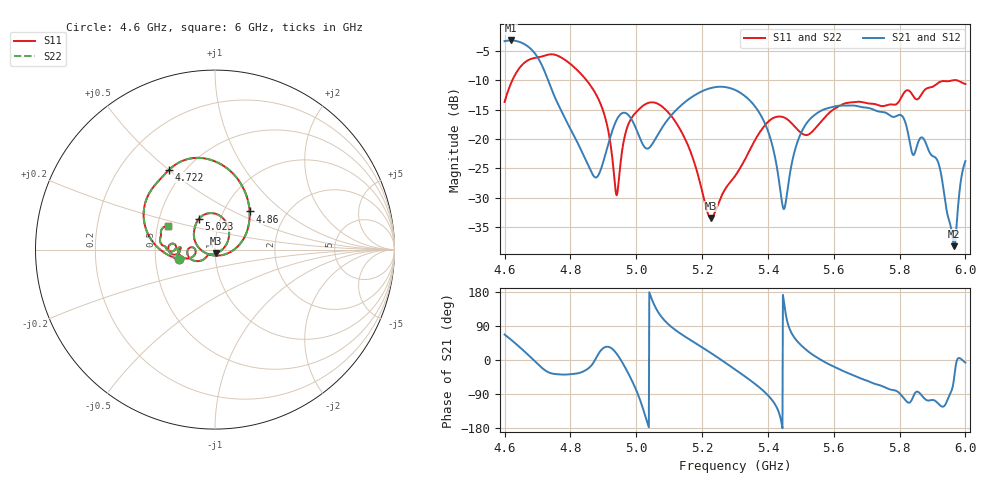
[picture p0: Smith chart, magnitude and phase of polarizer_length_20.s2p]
! TOUCHSTONE file generated by CST MICROWAVE STUDIO
! Date and time: Sun Dec  1 17:17:03 2024
! Project name: test_tuning.cst
! Parameters = {airCoaxOuterDiameter=3; chamferAngle=45; chamferWidth=24; connectorLength=10; drillingHoleDiameter=4.1; feedLength=60; flareDiameter=130; flareLength=70; gratingDistance=0; gratingGap=1.90274; outletLength=30; polarizerLength=102; probe1Diameter=1.3; probe1Distance=14; probe1Length=1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
! Header version: 2024
! Port assignment regex: !\s*Touchstone port\s*([0-9]+)\s*=\s*(CST MWS port|CST DES external port|CST DES block port)\s*(.+)\s* \(\"(.*)\"\)(\s*mode\s*([0-9]+))?.*
! Touchstone port assignment:
! Touchstone port 1 = CST MWS port 1 ("Input1")
! Touchstone port 2 = CST MWS port 2 ("Input2")
# GHz S MA R 50
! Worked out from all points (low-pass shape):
!   1001 points, 4.6 GHz to 6 GHz, reference 50 ohm
!   highest |S21| = -3.21 dB at 4.62 GHz (marker M1); lowest = -38.3 dB at 5.966 GHz (marker M2)
!   |S21| within 3 dB of the highest: start of sweep to 4.702 GHz
!   lowest |S11| = -33.5 dB at 5.227 GHz (marker M3), VSWR 1.04, Z = 50.6 - j2.06 ohm
!   |S11| at or under -10 dB: start of sweep to 4.623 GHz; 4.849 GHz to 5.961 GHz (1.112 GHz wide, 20.6 % of centre); 5.974985 GHz to end of sweep
!   |S22| runs from -33.5 to -5.6 dB; largest |S21 - S12| = 3.8e-07
!   S11 on the Smith chart (normalised r, x): 4.6 GHz: 0.66, -0.07; 4.722 GHz: 0.42, +0.50; 4.86 GHz: 1.32, +0.61; 5.023 GHz: 0.79, +0.28; 6 GHz: 0.57, +0.17
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4.6  0.2068 -165.1  0.6819 67.2  0.6819 67.2  0.2068 -165.1
4.6196  0.299 -179.0  0.6914 53.5  0.6914 53.5  0.299 -179.0
4.67  0.4673 146.4  0.6171 14.9  0.6171 14.9  0.4673 146.4
4.7218  0.5132 119.8  0.3752 -26.5  0.3752 -26.5  0.5132 119.8
4.8338  0.3543 61.0  0.0787 -32.2  0.0787 -32.2  0.3543 61.0
4.8604  0.2871 47.8  0.05461 -17.5  0.05461 -17.5  0.2871 47.8
4.908  0.1436 13.0  0.07698 34.7  0.07698 34.7  0.1436 13.0
4.9402  0.03322 -93.3  0.1452 16.8  0.1452 16.8  0.03322 -93.3
4.9724  0.1255 154.8  0.1636 -29.7  0.1636 -29.7  0.1255 154.8
5.0228  0.1942 117.2  0.0872 -134.8  0.0872 -134.8  0.1942 117.2
5.0676  0.1983 87.7  0.1116 124.9  0.1116 124.9  0.1983 87.7
5.1502  0.09768 39.2  0.2089 60.7  0.2089 60.7  0.09768 39.2
5.2272  0.02125 -72.9  0.272 18.3  0.272 18.3  0.02125 -72.9
5.3  0.04832 -142.1  0.2622 -24.8  0.2622 -24.8  0.04832 -142.1
5.3924  0.1324 -152.2  0.1328 -86.4  0.1328 -86.4  0.1324 -152.2
5.4484  0.1529 -178.3  0.02529 154.7  0.02529 154.7  0.1529 -178.3
5.4876  0.122 174.6  0.09052 51.0  0.09052 51.0  0.122 174.6
5.5338  0.115 -166.7  0.1534 15.3  0.1534 15.3  0.115 -166.7
5.7676  0.1965 179.7  0.1611 -76.8  0.1611 -76.8  0.1965 179.7
5.9132  0.2949 175.1  0.06706 -111.3  0.06706 -111.3  0.2949 175.1
5.9664  0.3179 161.0  0.01222 -42.7  0.01222 -42.7  0.3179 161.0
6  0.2941 152.9  0.06487 -6.7  0.06487 -6.7  0.2941 152.9
